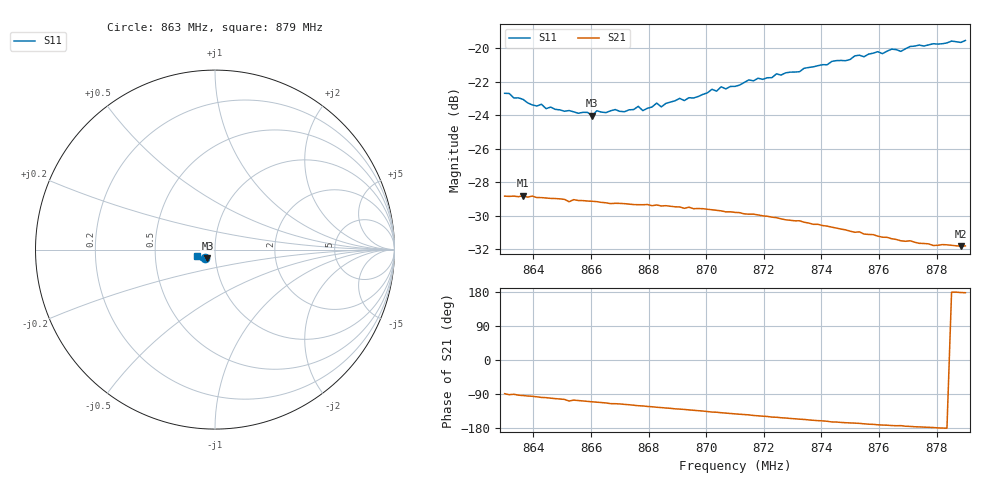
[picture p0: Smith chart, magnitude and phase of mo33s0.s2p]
# HZ S RI R 50
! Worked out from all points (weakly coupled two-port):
!   101 points, 863 MHz to 879 MHz, reference 50 ohm
!   highest |S21| = -28.82 dB at 863.64 MHz (marker M1); lowest = -31.8 dB at 878.84 MHz (marker M2)
!   lowest |S11| = -24.0 dB at 866.04 MHz (marker M3), VSWR 1.13, Z = 45.8 - j4.28 ohm
!   |S11| at or under -10 dB: start of sweep to end of sweep
!   S12 and S22 are empty: the file has one direction only
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8.63e8  -0.0548 -0.0487  0.000695 -0.0361  0 0  0 0
8.6364e8  -0.0521 -0.0472  -0.00238 -0.0362  0 0  0 0
8.6396e8  -0.0489 -0.0468  -0.00366 -0.036  0 0  0 0
8.6428e8  -0.0489 -0.0473  -0.00547 -0.0353  0 0  0 0
8.6444e8  -0.047 -0.0463  -0.0058 -0.0352  0 0  0 0
8.6572e8  -0.0434 -0.0474  -0.0108 -0.0333  0 0  0 0
8.6604e8  -0.0421 -0.0466  -0.0121 -0.0327  0 0  0 0
8.662e8  -0.0438 -0.0481  -0.0126 -0.0324  0 0  0 0
8.6716e8  -0.0407 -0.0501  -0.0156 -0.0305  0 0  0 0
8.6764e8  -0.042 -0.0522  -0.0174 -0.0293  0 0  0 0
8.678e8  -0.0406 -0.0508  -0.0177 -0.0291  0 0  0 0
8.6828e8  -0.0417 -0.0544  -0.0194 -0.028  0 0  0 0
8.6844e8  -0.0407 -0.0529  -0.0196 -0.0275  0 0  0 0
8.702e8  -0.0466 -0.0593  -0.0242 -0.0223  0 0  0 0
8.71e8  -0.0482 -0.0599  -0.0255 -0.0198  0 0  0 0
8.7148e8  -0.0512 -0.062  -0.0261 -0.0184  0 0  0 0
8.7372e8  -0.063 -0.0615  -0.0278 -0.0106  0 0  0 0
8.7644e8  -0.085 -0.0515  -0.0267 -0.00331  0 0  0 0
8.7676e8  -0.0834 -0.0512  -0.0264 -0.00316  0 0  0 0
8.774e8  -0.0905 -0.0475  -0.0261 -0.00158  0 0  0 0
8.7884e8  -0.0977 -0.0357  -0.0256 0.000871  0 0  0 0
8.79e8  -0.0998 -0.0343  -0.0256 0.00109  0 0  0 0
